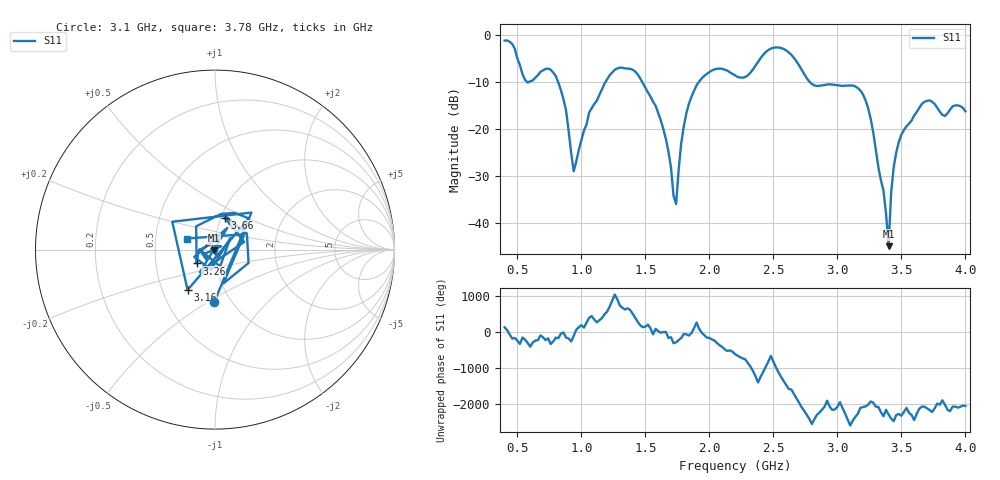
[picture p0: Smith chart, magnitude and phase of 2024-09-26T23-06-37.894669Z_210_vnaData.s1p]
!Created with skrf (http://scikit-rf.org).
# Hz S RI R 50.0
!freq ReS11 ImS11
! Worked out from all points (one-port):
!   181 points, 400 MHz to 4 GHz, reference 50 ohm
!   lowest |S11| = -45.0 dB at 3.4 GHz (marker M1), VSWR 1.01, Z = 49.5 - j0.301 ohm
!   |S11| at or under -10 dB: 818.1 MHz to 1.188 GHz (369.7 MHz wide, 36.9 % of centre); 1.475 GHz to 1.918 GHz (442.3 MHz wide, 26.1 % of centre); 2.785 GHz to end of sweep (the widest 3 of 4)
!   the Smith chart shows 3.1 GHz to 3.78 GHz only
!   S11 on the Smith chart (normalised r, x): 3.1 GHz: 0.84, -0.53; 3.16 GHz: 0.67, -0.33; 3.26 GHz: 0.81, -0.13; 3.66 GHz: 1.04, +0.38; 3.78 GHz: 0.73, +0.09
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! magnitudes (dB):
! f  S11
! 400 MHz  -1.2
! 580 MHz  -10.1
! 760 MHz  -7.4
! 860 MHz  -13.7
! 940 MHz  -29.0
! 1.06 GHz  -16.5
! 1.3 GHz  -6.9
! 1.58 GHz  -15.1
! 1.66 GHz  -22.1
! 1.74 GHz  -36.0
! 1.76 GHz  -28.6
! 1.82 GHz  -16.7
! 1.9 GHz  -10.7
! 2.2 GHz  -8.6
! 2.5 GHz  -2.7
! 2.66 GHz  -4.9
! 2.82 GHz  -10.7
! 3.1 GHz  -10.7
! 3.16 GHz  -11.3
! 3.26 GHz  -17.8
! 3.36 GHz  -33.1
! 3.4 GHz  -45.0
! 3.42 GHz  -33.6
! 3.44 GHz  -28.1
! 3.56 GHz  -18.8
! 3.66 GHz  -14.7
! 3.78 GHz  -15.5
! 4 GHz  -16.2
